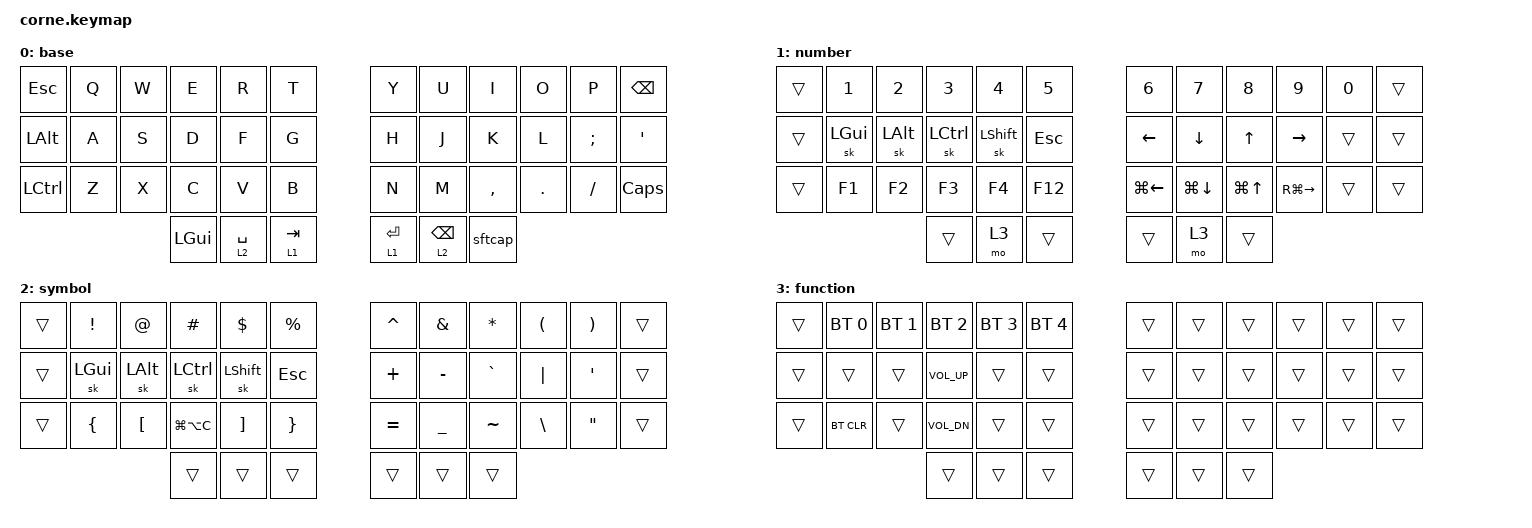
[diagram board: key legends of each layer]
/*
 * Copyright (c) 2020 The ZMK Contributors
 *
 * SPDX-License-Identifier: MIT
 */

#include <behaviors.dtsi>
#include <dt-bindings/zmk/bt.h>
#include <dt-bindings/zmk/keys.h>

#define BASE 0
#define LOWER 1
#define RAISE 2
#define ADJUST 3

&sk { quick-release; };

&lt {
    flavor = "hold-preferred";
    quick-tap-ms = <180>;
};

/ {
    behaviors {
        tp: tap_preferred {
            compatible = "zmk,behavior-hold-tap";
            label = "TAP_PREFERRED";
            #binding-cells = <2>;
            tapping-term-ms = <150>;
            quick-tap-ms = <0>;
            flavor = "tap-preferred";
            bindings = <&kp>, <&kp>;
        };

        lthp: lthp {
            compatible = "zmk,behavior-hold-tap";
            label = "LTHP";
            bindings = <&mo>, <&kp>;

            #binding-cells = <2>;
            tapping-term-ms = <200>;
            quick-tap-ms = <180>;
        };

        sftcap: sftcap {
            compatible = "zmk,behavior-tap-dance";
            label = "SFTCAP";
            #binding-cells = <0>;
            bindings = <&kp LEFT_SHIFT>, <&kp CAPSLOCK>;
        };

        hr: hr {
            compatible = "zmk,behavior-hold-tap";
            label = "HR";
            bindings = <&kp>, <&kp>;

            #binding-cells = <2>;
            tapping-term-ms = <280>;
            quick-tap-ms = <175>;
            flavor = "tap-preferred";
        };
    };

    // Activate ADJUST layer by pressing raise and lower

    conditional_layers { compatible = "zmk,conditional-layers"; };

    combos {
        compatible = "zmk,combos";

        esc {
            bindings = <&kp ESCAPE>;
            key-positions = <15 14>;
            timeout-ms = <30>;
        };

        pipe {
            bindings = <&kp PIPE>;
            key-positions = <18 6>;
            timeout-ms = <30>;
        };

        left_bracket {
            bindings = <&kp LEFT_BRACKET>;
            key-positions = <5 4>;
        };

        right_bracket {
            bindings = <&kp RIGHT_BRACKET>;
            key-positions = <6 7>;
            timeout-ms = <30>;
        };

        left_par {
            bindings = <&kp LEFT_PARENTHESIS>;
            key-positions = <16 17>;
            timeout-ms = <30>;
        };

        right_par {
            bindings = <&kp RIGHT_PARENTHESIS>;
            key-positions = <18 19>;
            timeout-ms = <30>;
        };

        left_brace {
            bindings = <&kp LEFT_BRACE>;
            key-positions = <28 29>;
            timeout-ms = <30>;
        };

        right_brace {
            bindings = <&kp RIGHT_BRACE>;
            key-positions = <30 31>;
            timeout-ms = <30>;
        };

        backslash {
            bindings = <&kp BACKSLASH>;
            key-positions = <4 17>;
            timeout-ms = <30>;
        };

        lsft {
            bindings = <&kp LEFT_SHIFT>;
            key-positions = <20 21>;
            timeout-ms = <30>;
        };

        capslock {
            bindings = <&kp CAPSLOCK>;
            key-positions = <33 32>;
            timeout-ms = <30>;
        };
    };

    keymap {
        compatible = "zmk,keymap";

        base {
            // --------------------------------------------------------------------------------------------
            // | TAB  |  Q  |  W  |  E  |  R  |    T    |   |  Y  |  U   |  I  |  O  |  P  | ESC |
            // | SHFT |  A  |  S  |  D  |  F  |    G    |   |  H  |  J   |  K  |  L  |  ;  |  '   |
            // | CTRL |  Z  |  X  |  C  |  V  |    B    |   |  N  |  M   |  ,  |  .  |  /  | SHFT |
            //                    | GUI | LWR | ALT/ENT |   | HYPER/SPC | BKSP  | RSE |

            bindings = <
&kp ESCAPE    &kp Q  &kp W  &kp E         &kp R          &kp T          &kp Y          &kp U              &kp I      &kp O    &kp P          &kp BACKSPACE
&kp LEFT_ALT  &kp A  &kp S  &kp D         &kp F          &kp G          &kp H          &kp J              &kp K      &kp L    &kp SEMICOLON  &kp SINGLE_QUOTE
&kp LCTRL     &kp Z  &kp X  &kp C         &kp V          &kp B          &kp N          &kp M              &kp COMMA  &kp DOT  &kp FSLH       &kp CAPSLOCK
                            &kp LEFT_GUI  &lthp 2 SPACE  &lthp 1 TAB    &lthp 1 ENTER  &lthp 2 BACKSPACE  &sftcap
            >;
        };

        number {
            // -----------------------------------------------------------------------------------------
            // | ESC |  1  |  2  |  3  |  4  |    5     |   |  6  |  7  |  8  |  9  | 0   | `~   |
            // |     |  Q  |  W  |  E  |  R  |    T     |   |  _  |  +  |  {  |  }  | "|" | SHFT |
            // |     |  A  |  S  |  D  |  F  |    G     |   |  -  |  =  |  [  |  ]  |  \  | SHFT |
            //                     | GUI |     | ALT/ENT |   | HYPER/SPACE | BKSP |    |

            bindings = <
&trans  &kp N1        &kp N2        &kp N3     &kp N4          &kp N5     &kp N6          &kp N7        &kp N8            &kp N9         &kp N0  &trans
&trans  &sk LEFT_GUI  &sk LEFT_ALT  &sk LCTRL  &sk LEFT_SHIFT  &kp ESC    &kp LEFT_ARROW  &kp DOWN      &kp UP_ARROW      &kp RIGHT      &trans  &trans
&trans  &kp F1        &kp F2        &kp F3     &kp F4          &kp F12    &kp LG(LEFT)    &kp LG(DOWN)  &kp LG(UP_ARROW)  &kp RG(RIGHT)  &trans  &trans
                                    &trans     &mo 3           &trans     &trans          &mo 3         &trans
            >;
        };

        symbol {
            // -----------------------------------------------------------------------------------------
            // | Prev  |  !   |  @   |  #   |  $   |  %  |            |  ^  |  &  |  *  |  (  |  )  | Next  |
            // | BTCLR | BT1  | BT2  | BT3  |Vol-  |Vol+ |            | LFT | DWN |  UP | RGT | HOME|  END  |
            // |  F12  |  F1  |  F2  |  F3  |  F4  |  F5 |            | F6  | F7  | F8  | F9  | F10 |  F11  |
            //                    |     |     |    |                  |   Play/Pause   |     |     |

            bindings = <
&trans  &kp EXCL        &kp AT    &kp HASH       &kp DLLR   &kp PRCNT          &kp CARET  &kp AMPS   &kp ASTERISK  &kp LPAR  &kp RPAR           &trans
&trans  &sk LGUI        &sk LALT  &sk LCTRL      &sk LSHFT  &kp ESC            &kp PLUS   &kp MINUS  &kp GRAVE     &kp PIPE  &kp APOS           &trans
&trans  &kp LEFT_BRACE  &kp LBKT  &kp LG(LA(C))  &kp RBKT   &kp RIGHT_BRACE    &kp EQUAL  &kp UNDER  &kp TILDE     &kp BSLH  &kp DOUBLE_QUOTES  &trans
                                  &trans         &trans     &trans             &trans     &trans     &trans
            >;
        };

        function {
            bindings = <
&trans  &bt BT_SEL 0  &bt BT_SEL 1  &bt BT_SEL 2     &bt BT_SEL 3  &bt BT_SEL 4    &trans  &trans  &trans  &trans  &trans  &trans
&trans  &trans        &trans        &kp C_VOLUME_UP  &trans        &trans          &trans  &trans  &trans  &trans  &trans  &trans
&trans  &bt BT_CLR    &trans        &kp C_VOL_DN     &trans        &trans          &trans  &trans  &trans  &trans  &trans  &trans
                                    &trans           &trans        &trans          &trans  &trans  &trans
            >;
        };
    };
};
